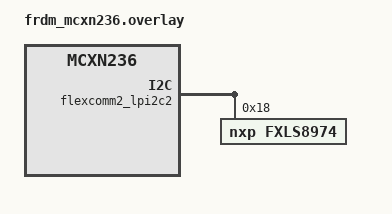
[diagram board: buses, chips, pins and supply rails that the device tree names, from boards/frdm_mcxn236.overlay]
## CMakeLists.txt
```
cmake_minimum_required(VERSION 3.20.0)

# Pull in the Zephyr build system
find_package(Zephyr REQUIRED HINTS $ENV{ZEPHYR_BASE})

project(imu_internal)

# Export compile commands for clangd (Neovim)
set(CMAKE_EXPORT_COMPILE_COMMANDS ON)

target_sources(app PRIVATE src/main.c)
```

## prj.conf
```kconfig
# printk() enable for console output
# CONFIG_PRINTK=y

# Enable Logging 
CONFIG_LOG=y
CONFIG_LOG_DEFAULT_LEVEL=3

# Enable GPIOS
# CONFIG_GPIO=y

# UART 
CONFIG_CONSOLE=y
CONFIG_UART_CONSOLE=y

# Sensors 
CONFIG_SENSOR=y
CONFIG_FXLS8974=y
```

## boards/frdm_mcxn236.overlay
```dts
&flexcomm2_lpi2c2 {
    status = "okay";

    fxls8974: fxls8974@18 {
        compatible = "nxp,fxls8974";
        reg = <0x18>;
        status = "okay";
    };
};
```

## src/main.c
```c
#include <zephyr/kernel.h>
#include <zephyr/device.h>
#include <zephyr/drivers/sensor.h>
#include <zephyr/drivers/gpio.h>
#include <zephyr/logging/log.h>

LOG_MODULE_REGISTER(imu_internal_logger, LOG_LEVEL_DBG);

#define ACCEL_NODE DT_NODELABEL(fxls8974)

#define LED0_NODE  DT_ALIAS(led0)
#define LED1_NODE  DT_ALIAS(led1)
#define LED2_NODE  DT_ALIAS(led2)

static const struct device *accel = DEVICE_DT_GET(ACCEL_NODE);

static const struct gpio_dt_spec led0 = GPIO_DT_SPEC_GET(LED0_NODE, gpios);
static const struct gpio_dt_spec led1 = GPIO_DT_SPEC_GET(LED1_NODE, gpios);
static const struct gpio_dt_spec led2 = GPIO_DT_SPEC_GET(LED2_NODE, gpios);

/* RGB helper */
static void set_rgb(bool r, bool g, bool b) {
  gpio_pin_set_dt(&led0, r);
  gpio_pin_set_dt(&led1, g);
  gpio_pin_set_dt(&led2, b);
}

int main(void)
{
  struct sensor_value x, y, z;

  LOG_INF("IMU Tilt indicator (Using on-board FXLS8974)");

  if (!device_is_ready(accel)) {
    LOG_ERR("FXLS8974 is not ready");
    return -1;
  }

  gpio_pin_configure_dt(&led0, GPIO_OUTPUT_INACTIVE);
  gpio_pin_configure_dt(&led1, GPIO_OUTPUT_INACTIVE);
  gpio_pin_configure_dt(&led2, GPIO_OUTPUT_INACTIVE);

  while (1) {
    sensor_sample_fetch(accel);

    sensor_channel_get(accel, SENSOR_CHAN_ACCEL_X, &x);
    sensor_channel_get(accel, SENSOR_CHAN_ACCEL_Y, &y);
    sensor_channel_get(accel, SENSOR_CHAN_ACCEL_Z, &z);

    LOG_INF("X=%d.%02d  Y=%d.%02d  Z=%d.%02d", x.val1, x.val2, y.val1, y.val2, z.val1, z.val2);

    double xg = sensor_value_to_double(&x);
    double yg = sensor_value_to_double(&y);
    double zg = sensor_value_to_double(&z);

    /* Upside Down */
    if (zg < -8.0) {
      set_rgb(1, 1, 1);           // White
    }

    /* Right Tilt */
    else if (xg > 3.0) {
      set_rgb(0, 0, 1);          // Blue
    }

    /* Left Tilt */
    else if (xg < -3.0) {
      set_rgb(1, 0, 0);          // Red
    }

    /* Right Tilt (Y)*/
    else if (yg > 3.0) {
      set_rgb(1, 1, 0);          // Cyan
    }

    /* Left Tilt (Y) */
    else if (yg < -3.0) {
      set_rgb(0, 1, 1);          // Yellow
    }

    /* Flat */
    else {
      set_rgb(0, 1, 0);
    }

    k_msleep(100);
  }

  return 0;
}
```
